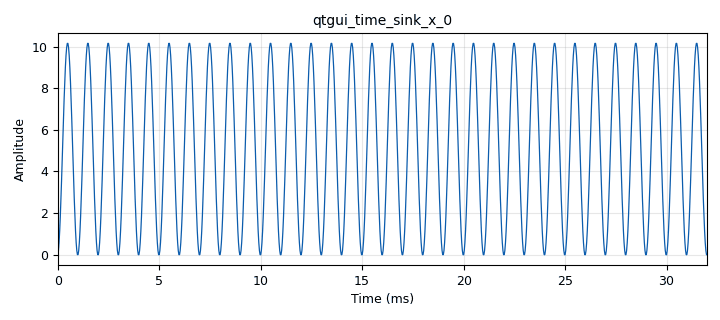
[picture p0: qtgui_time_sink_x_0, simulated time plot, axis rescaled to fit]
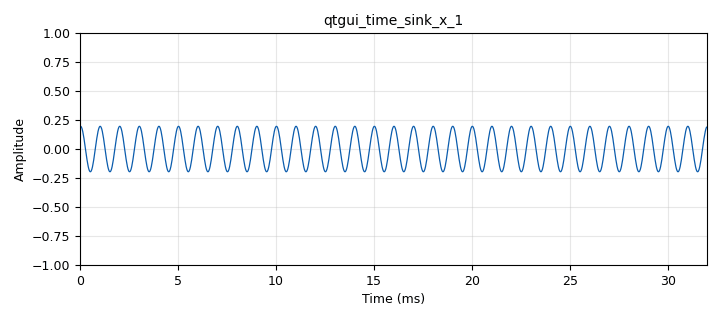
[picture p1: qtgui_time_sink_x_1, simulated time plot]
options:
  parameters:
    author: Brayan David
    generate_options: qt_gui
    id: practica_1_brayan
    output_language: python
    title: Practica 1 - Bloques Python
  states: {}

blocks:
- name: samp_rate
  id: variable
  parameters:
    value: '32000'
  states: {}
- name: analog_sig_source_x_0
  id: analog_sig_source_x
  parameters:
    amp: '1'
    freq: '1000'
    offset: '0'
    phase: '0'
    samp_rate: samp_rate
    type: float
    waveform: analog.GR_SIN_WAVE
  states: {}
- name: epy_block_0
  id: epy_block
  parameters:
    _source_code: |-
      import numpy as np
      from gnuradio import gr

      class blk(gr.sync_block):
          def __init__(self):
              gr.sync_block.__init__(
                  self,
                  name='Acumulador',
                  in_sig=[np.float32],
                  out_sig=[np.float32]
              )
              self.acc = 0.0

          def work(self, input_items, output_items):
              in_vec = input_items[0]
              out_vec = output_items[0]
              
              for i in range(len(in_vec)):
                  self.acc += in_vec[i]
                  out_vec[i] = self.acc
                  
              return len(output_items[0])
  states: {}
- name: epy_block_1
  id: epy_block
  parameters:
    _source_code: |-
      import numpy as np
      from gnuradio import gr

      class blk(gr.sync_block):
          def __init__(self):
              gr.sync_block.__init__(
                  self,
                  name='Diferenciador',
                  in_sig=[np.float32],
                  out_sig=[np.float32]
              )
              self.prev_sample = 0.0

          def work(self, input_items, output_items):
              in_vec = input_items[0]
              out_vec = output_items[0]
              
              for i in range(len(in_vec)):
                  out_vec[i] = in_vec[i] - self.prev_sample
                  self.prev_sample = in_vec[i]
                  
              return len(output_items[0])
  states: {}
- name: qtgui_time_sink_x_0
  id: qtgui_time_sink_x
  parameters:
    size: '1024'
    srate: samp_rate
    type: float
  states: {}
- name: qtgui_time_sink_x_1
  id: qtgui_time_sink_x
  parameters:
    size: '1024'
    srate: samp_rate
    type: float
  states: {}

connections:
- [analog_sig_source_x_0, '0', epy_block_0, '0']
- [analog_sig_source_x_0, '0', epy_block_1, '0']
- [epy_block_0, '0', qtgui_time_sink_x_0, '0']
- [epy_block_1, '0', qtgui_time_sink_x_1, '0']

metadata:
  file_format: 1
  grc_version: 3.10.12.0
